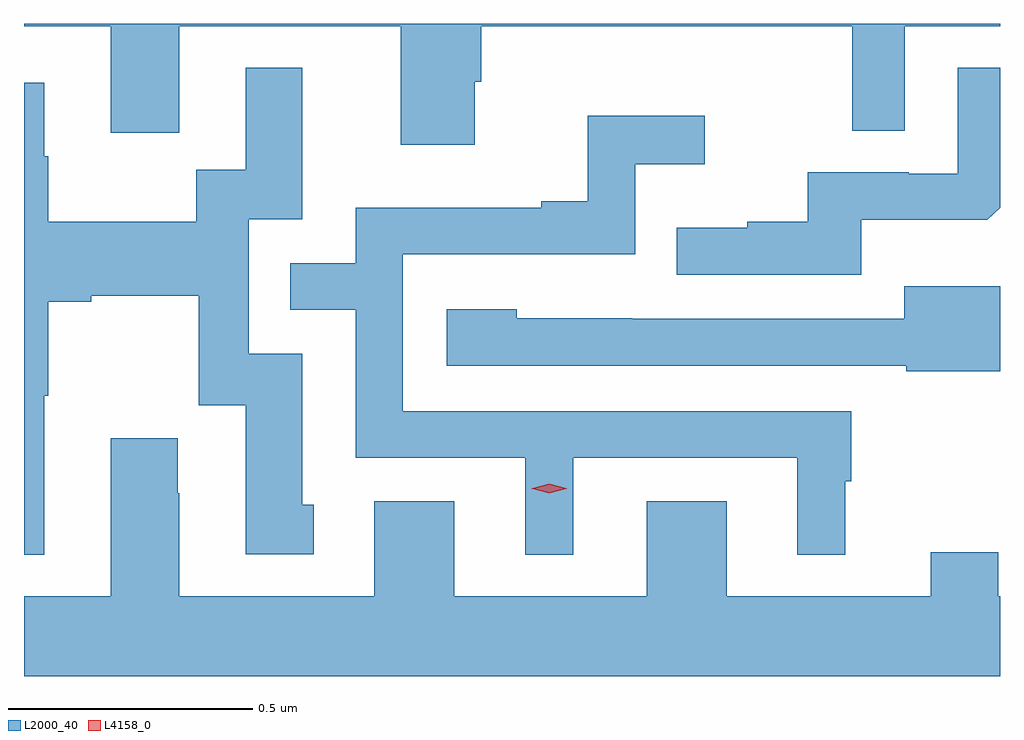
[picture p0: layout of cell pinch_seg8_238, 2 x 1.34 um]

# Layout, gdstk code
import gdstk
lib = gdstk.Library(unit=1e-6, precision=1e-09)
def P(c, l, *ps):  # polygons
    for p in ps: c.add(gdstk.Polygon(p, *l))
L2000_40 = (2000, 40)
L4158_0 = (4158, 0)

pinch_seg8_238 = lib.new_cell('pinch_seg8_238')
P(pinch_seg8_238, L2000_40, [(626.1,1109.626),(626.208,1109.626),(626.208,1109.84),(626.403,1109.84),(626.403,1109.846),(624.403,1109.846),(624.403,1109.84),(624.581,1109.84),(624.581,1109.622),(624.721,1109.622),(624.721,1109.84),(625.175,1109.84),(625.175,1109.598),(625.327,1109.598),(625.327,1109.727),(625.34,1109.727),(625.34,1109.84),(626.1,1109.84)],
  [(624.445,1109.083),(624.453,1109.083),(624.453,1109.276),(624.541,1109.276),(624.541,1109.288),(624.761,1109.288),(624.761,1109.064),(624.857,1109.064),(624.857,1108.758),(624.997,1108.758),(624.997,1108.86),(624.973,1108.86),(624.973,1109.169),(624.864,1109.169),(624.864,1109.445),(624.973,1109.445),(624.973,1109.755),(624.857,1109.755),(624.857,1109.546),(624.756,1109.546),(624.756,1109.44),(624.453,1109.44),(624.453,1109.574),(624.445,1109.574),(624.445,1109.725),(624.403,1109.725),(624.403,1108.757),(624.445,1108.757)],
  [(626.119,1109.444),(626.377,1109.444),(626.403,1109.469),(626.403,1109.755),(626.316,1109.755),(626.316,1109.538),(626.216,1109.538),(626.216,1109.541),(626.009,1109.541),(626.009,1109.44),(625.885,1109.44),(625.885,1109.428),(625.741,1109.428),(625.741,1109.331),(626.119,1109.331)],
  [(625.528,1108.956),(625.988,1108.956),(625.988,1108.757),(626.086,1108.757),(626.086,1108.908),(626.098,1108.908),(626.098,1109.052),(625.179,1109.052),(625.179,1109.373),(625.656,1109.373),(625.656,1109.558),(625.798,1109.558),(625.798,1109.657),(625.558,1109.657),(625.558,1109.482),(625.463,1109.482),(625.463,1109.469),(625.083,1109.469),(625.083,1109.355),(624.949,1109.355),(624.949,1109.259),(625.083,1109.259),(625.083,1108.956),(625.43,1108.956),(625.43,1108.757),(625.528,1108.757)],
  [(626.403,1109.308),(626.207,1109.308),(626.207,1109.241),(625.649,1109.241),(625.649,1109.242),(625.413,1109.242),(625.413,1109.26),(625.269,1109.26),(625.269,1109.145),(626.211,1109.145),(626.211,1109.133),(626.403,1109.133)],
  [(626.403,1108.672),(626.399,1108.672),(626.399,1108.763),(626.261,1108.763),(626.261,1108.672),(625.843,1108.672),(625.843,1108.867),(625.679,1108.867),(625.679,1108.672),(625.285,1108.672),(625.285,1108.867),(625.121,1108.867),(625.121,1108.672),(624.721,1108.672),(624.721,1108.883),(624.718,1108.883),(624.718,1108.996),(624.581,1108.996),(624.581,1108.672),(624.403,1108.672),(624.403,1108.508),(626.403,1108.508)])
P(pinch_seg8_238, L4158_0, [(625.479,1108.883),(625.444,1108.893),(625.443,1108.893),(625.444,1108.894),(625.479,1108.903),(625.514,1108.894),(625.515,1108.893),(625.514,1108.893)])

lib.write_gds('pinch_seg8_238.gds')
